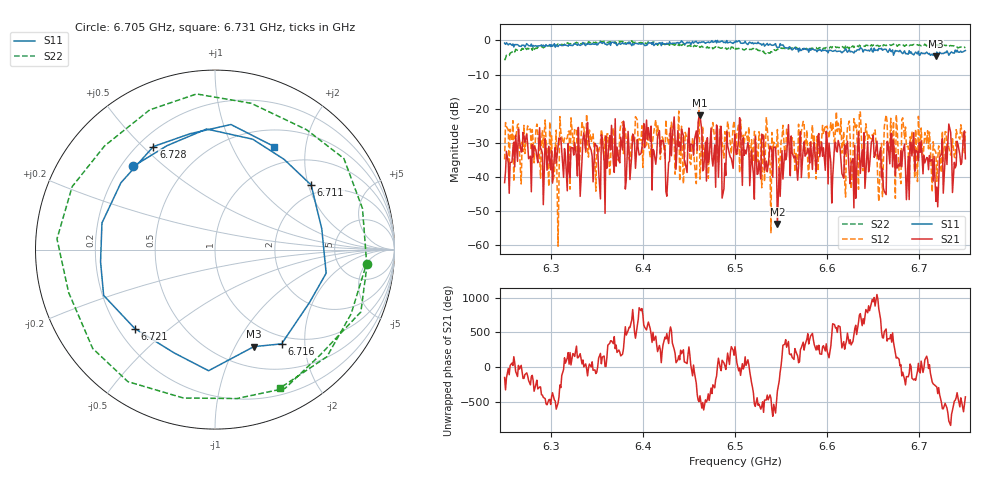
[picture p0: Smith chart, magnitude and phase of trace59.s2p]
# Hz S RI R 50
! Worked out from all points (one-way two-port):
!   401 points, 6.25 GHz to 6.75 GHz, reference 50 ohm
!   highest |S21| = -21.98 dB at 6.462 GHz (marker M1); lowest = -53.9 dB at 6.546 GHz (marker M2)
!   lowest |S11| = -4.7 dB at 6.718 GHz (marker M3), VSWR 3.79, Z = 36.5 - j59.7 ohm
!   |S11| at or under -10 dB: nowhere
!   |S22| runs from -5.8 to -0.1 dB; largest |S21 - S12| = 0.17
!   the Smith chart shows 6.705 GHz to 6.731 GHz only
!   S11 on the Smith chart (normalised r, x): 6.705 GHz: 0.25, +0.40; 6.711 GHz: 1.69, +2.09; 6.716 GHz: 0.87, -1.56; 6.721 GHz: 0.27, -0.38; 6.728 GHz: 0.26, +0.54; 6.731 GHz: 0.72, +1.48
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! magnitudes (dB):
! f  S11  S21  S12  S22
! 6.25 GHz  -0.8  -41.7  -34.9  -5.8
! 6.294 GHz  -1.8  -28.8  -23.3  -1.7
! 6.306 GHz  -1.4  -36.0  -26.3  -1.5
! 6.312 GHz  -1.5  -32.3  -28.3  -1.1
! 6.334 GHz  -1.2  -35.1  -23.7  -0.9
! 6.418 GHz  -0.7  -26.4  -28.6  -0.8
! 6.426 GHz  -0.8  -45.7  -27.5  -0.9
! 6.462 GHz  -0.6  -22.0  -40.7  -2.0
! 6.5 GHz  -0.6  -27.4  -29.5  -2.8
! 6.546 GHz  -2.1  -53.9  -26.1  -2.5
! 6.584 GHz  -2.5  -37.8  -24.8  -2.3
! 6.651 GHz  -2.3  -34.3  -26.9  -1.7
! 6.661 GHz  -2.7  -43.3  -35.0  -1.3
! 6.668 GHz  -2.5  -36.2  -31.3  -1.3
! 6.705 GHz  -3.7  -33.8  -30.6  -1.4
! 6.711 GHz  -3.8  -33.7  -26.9  -1.5
! 6.716 GHz  -3.8  -34.0  -31.7  -1.1
! 6.718 GHz  -4.7  -47.2  -32.8  -1.2
! 6.721 GHz  -4.1  -41.5  -30.9  -1.2
! 6.728 GHz  -3.5  -34.7  -26.7  -1.4
! 6.731 GHz  -3.6  -29.6  -30.0  -1.4
! 6.75 GHz  -3.0  -34.7  -26.8  -2.1
